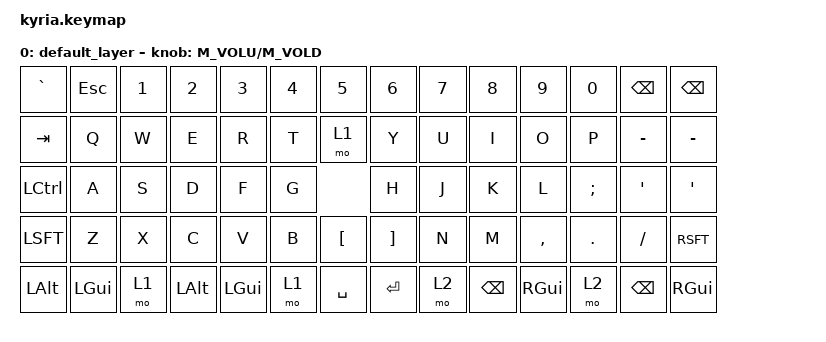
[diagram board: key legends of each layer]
/*
 * Copyright (c) 2020 The ZMK Contributors
 *
 * SPDX-License-Identifier: MIT
 */

#include <behaviors.dtsi>
#include <dt-bindings/zmk/keys.h>
#include <dt-bindings/zmk/bt.h>
#include <dt-bindings/zmk/ext_power.h>

/ {
	keymap {
		compatible = "zmk,keymap";

		default_layer {
// ------------------------------------------------------------------------------------------------------------
// |  ESC  |  1  |  2  |  3   |  4   |  5   |                   |  6   |  7    |  8    |  9   |   0   |   `   |
// |  TAB  |  Q  |  W  |  E   |  R   |  T   |                   |  Y   |  U    |  I    |  O   |   P   |   -   |
// |  CTRL |  A  |  S  |  D   |  F   |  G   |                   |  H   |  J    |  K    |  L   |   ;   |   '   |
// | SHIFT |  Z  |  X  |  C   |  V   |  B   |   "["  |  |  "]"  |  N   |  M    |  ,    |  .   |   /   | SHIFT |
//                     | ALT  | GUI  | LOWER|  SPACE |  | ENTER | RAISE| BSPC  | GUI   |
			bindings = <
&kp GRAV &kp ESC   &kp NUM_1 &kp NUM_2 &kp NUM_3 &kp NUM_4 &kp NUM_5          &kp NUM_6 &kp NUM_7 &kp NUM_8 &kp NUM_9 &kp NUM_0 &kp BKSP    &kp BKSP
&kp TAB  &kp Q     &kp W     &kp E     &kp R     &kp T     &mo 1              &kp Y     &kp U     &kp I     &kp O     &kp P     &kp MINUS   &kp MINUS
&kp LCTL &kp A     &kp S     &kp D     &kp F     &kp G                        &kp H     &kp J     &kp K     &kp L     &kp SCLN  &kp QUOT    &kp QUOT
&kp LSFT &kp Z     &kp X     &kp C     &kp V     &kp B   &kp LBKT  &kp RBKT   &kp N     &kp M     &kp CMMA  &kp DOT   &kp FSLH  &kp RSFT
&kp LALT &kp LGUI  &mo 1     &kp LALT  &kp LGUI  &mo 1   &kp SPC   &kp RET    &mo 2     &kp BKSP  &kp RGUI  &mo 2     &kp BKSP  &kp RGUI
			>;

			sensor-bindings = <&inc_dec_kp M_VOLU M_VOLD>;
		};
};
